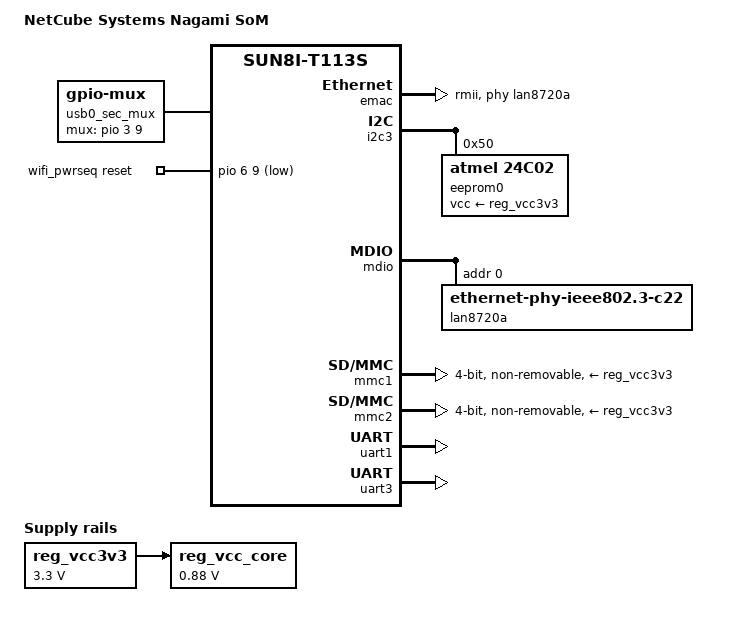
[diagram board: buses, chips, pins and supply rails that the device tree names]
// SPDX-License-Identifier: (GPL-2.0+ OR MIT)
/*
 * Copyright (C) 2025 Lukas Schmid <lukas.schmid@netcube.li>
 */

/dts-v1/;
#include "sun8i-t113s.dtsi"

#include <dt-bindings/gpio/gpio.h>
#include <dt-bindings/interrupt-controller/irq.h>

/ {
	model = "NetCube Systems Nagami SoM";
	compatible = "netcube,nagami", "allwinner,sun8i-t113s";

	aliases {
		serial1 = &uart1; // ESP32 Bootloader UART
		serial3 = &uart3; // Console UART on Card Edge
		ethernet0 = &emac;
	};

	chosen {
		stdout-path = "serial3:115200n8";
	};

	/* module wide 3.3V supply directly from the card edge */
	reg_vcc3v3: regulator-3v3 {
		compatible = "regulator-fixed";
		regulator-name = "vcc-3v3";
		regulator-min-microvolt = <3300000>;
		regulator-max-microvolt = <3300000>;
		regulator-always-on;
	};

	/* SY8008 DC/DC regulator on the board, also supplying VDD-SYS */
	reg_vcc_core: regulator-core {
		compatible = "regulator-fixed";
		regulator-name = "vcc-core";
		regulator-min-microvolt = <880000>;
		regulator-max-microvolt = <880000>;
		vin-supply = <&reg_vcc3v3>;
	};

	/* USB0 MUX to switch connect to Card-Edge only after BootROM */
	usb0_sec_mux: mux-controller{
		compatible = "gpio-mux";
		#mux-control-cells = <0>;
		mux-gpios = <&pio 3 9 GPIO_ACTIVE_HIGH>; /* PD9 */
		idle-state = <1>; /* USB connected to Card-Edge by default */
	};

	/* Reset of ESP32 */
	wifi_pwrseq: wifi-pwrseq {
		compatible = "mmc-pwrseq-simple";
		reset-gpios = <&pio 6 9 GPIO_ACTIVE_LOW>; /* PG9 */
		post-power-on-delay-ms = <1500>;
		power-off-delay-us = <200>;
	};
};

&cpu0 {
	cpu-supply = <&reg_vcc_core>;
};

&cpu1 {
	cpu-supply = <&reg_vcc_core>;
};

&dcxo {
	clock-frequency = <24000000>;
};

&emac {
	nvmem-cells = <&eth0_macaddress>;
	nvmem-cell-names = "mac-address";
	phy-handle = <&lan8720a>;
	phy-mode = "rmii";
	pinctrl-0 = <&rmii_pe_pins>;
	pinctrl-names = "default";
	status = "okay";
};

/* Default I2C Interface on Card-Edge */
&i2c2 {
	pinctrl-0 = <&i2c2_pd_pins>;
	pinctrl-names = "default";
	status = "disabled";
};

/* Exposed as the QWIIC connector and used by the internal EEPROM */
&i2c3 {
	pinctrl-0 = <&i2c3_pg_pins>;
	pinctrl-names = "default";
	status = "okay";

	eeprom0: eeprom@50 {
		compatible = "atmel,24c02";		/* actually it's a 24AA02E48 */
		reg = <0x50>;
		pagesize = <16>;
		read-only;
		vcc-supply = <&reg_vcc3v3>;

		#address-cells = <1>;
		#size-cells = <1>;

		eth0_macaddress: macaddress@fa {
			reg = <0xfa 0x06>;
		};
	};
};

/* Default I2S Interface on Card-Edge */
&i2s1 {
	pinctrl-0 = <&i2s1_pins>, <&i2s1_din0_pin>, <&i2s1_dout0_pin>;
	pinctrl-names = "default";
	status = "disabled";
};

/* Phy is on SoM. MDI signals pre-magnetics are on the card edge */
&mdio {
	lan8720a: ethernet-phy@0 {
		compatible = "ethernet-phy-ieee802.3-c22";
		reg = <0>;
	};
};

/* Default SD Interface on Card-Edge */
&mmc0 {
	pinctrl-0 = <&mmc0_pins>;
	pinctrl-names = "default";
	status = "disabled";
};

/* Connected to the on-board ESP32 */
&mmc1 {
	pinctrl-0 = <&mmc1_pins>;
	pinctrl-names = "default";
	vmmc-supply = <&reg_vcc3v3>;
	bus-width = <4>;
	non-removable;
	mmc-pwrseq = <&wifi_pwrseq>;
	status = "okay";
};

/* Connected to the on-board eMMC */
&mmc2 {
	pinctrl-0 = <&mmc2_pins>;
	pinctrl-names = "default";
	vmmc-supply = <&reg_vcc3v3>;
	vqmmc-supply = <&reg_vcc3v3>;
	bus-width = <4>;
	non-removable;
	status = "okay";
};

&pio {
	vcc-pb-supply = <&reg_vcc3v3>;
	vcc-pc-supply = <&reg_vcc3v3>;
	vcc-pd-supply = <&reg_vcc3v3>;
	vcc-pe-supply = <&reg_vcc3v3>;
	vcc-pf-supply = <&reg_vcc3v3>;
	vcc-pg-supply = <&reg_vcc3v3>;

	gpio-line-names = "", "", "", "", // PA
			  "", "", "", "",
			  "", "", "", "",
			  "", "", "", "",
			  "", "", "", "",
			  "", "", "", "",
			  "", "", "", "",
			  "", "", "", "",
			  "", "", "CAN0_TX", "CAN0_RX", // PB
			  "CAN1_TX", "CAN1_RX", "UART3_TX", "UART3_RX",
			  "", "", "", "",
			  "", "", "", "",
			  "", "", "", "",
			  "", "", "", "",
			  "", "", "", "",
			  "", "", "", "",
			  "", "", "eMMC_CLK", "eMMC_CMD", // PC
			  "eMMC_D2", "eMMC_D1", "eMMC_D0", "eMMC_D3",
			  "", "", "", "",
			  "", "", "", "",
			  "", "", "", "",
			  "", "", "", "",
			  "", "", "", "",
			  "", "", "", "",
			  "", "", "", "", // PD
			  "", "", "", "",
			  "", "USB_SEC_EN", "SPI1_CS", "SPI1_CLK",
			  "SPI1_MOSI", "SPI1_MISO", "SPI1_HOLD", "SPI1_WP",
			  "PD16", "", "", "",
			  "I2C2_SCL", "I2C2_SDA", "PD22", "",
			  "", "", "", "",
			  "", "", "", "",
			  "ETH_CRSDV", "ETH_RXD0", "ETH_RXD1", "ETH_TXCK", // PE
			  "ETH_TXD0", "ETH_TXD1", "ETH_TXEN", "",
			  "ETH_MDC", "ETH_MDIO", "QWIIC_nINT", "",
			  "", "", "", "",
			  "", "", "", "",
			  "", "", "", "",
			  "", "", "", "",
			  "", "", "", "",
			  "SD_D1", "SD_D0", "SD_CLK", "SD_CLK", // PF
			  "SD_D3", "SD_D2", "PF6", "",
			  "", "", "", "",
			  "", "", "", "",
			  "", "", "", "",
			  "", "", "", "",
			  "", "", "", "",
			  "", "", "", "",
			  "ESP_CLK", "ESP_CMD", "ESP_D0", "ESP_D1", // PG
			  "ESP_D2", "ESP_D3", "UART1_TXD", "UART1_RXD",
			  "ESP_nBOOT", "ESP_nRST", "I2C3_SCL", "I2C3_SDA",
			  "I2S1_WS", "I2S1_CLK", "I2S1_DIN0", "I2S1_DOUT0",
			  "", "", "", "",
			  "", "", "", "",
			  "", "", "", "",
			  "", "", "", "";
};

/* Remove the unused CK pin from the pinctl as it is unconnected */
&rmii_pe_pins {
	pins = "PE0", "PE1", "PE2", "PE3", "PE4",
	       "PE5", "PE6", "PE8", "PE9";
};

/* Default SPI Interface on Card-Edge */
&spi1 {
	#address-cells = <1>;
	#size-cells = <0>;
	pinctrl-0 = <&spi1_pins>, <&spi1_hold_pin>, <&spi1_wp_pin>;
	pinctrl-names = "default";
	cs-gpios = <0>;
	status = "disabled";
};

/* Connected to the Bootloader/Console of the ESP32 */
&uart1 {
	pinctrl-0 = <&uart1_pg6_pins>;
	pinctrl-names = "default";
	status = "okay";
};

/* Console/Debug UART on Card-Edge */
&uart3 {
	pinctrl-0 = <&uart3_pb_pins>;
	pinctrl-names = "default";
	status = "okay";
};
